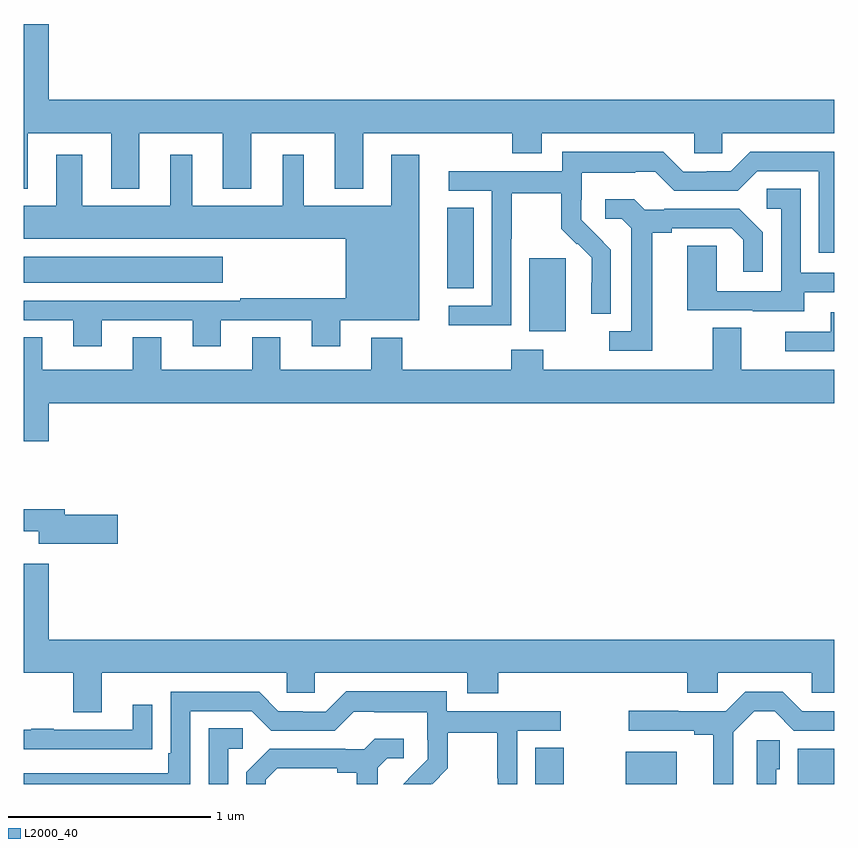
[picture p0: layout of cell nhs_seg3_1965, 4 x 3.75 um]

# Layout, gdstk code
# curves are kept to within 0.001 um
import gdstk
lib = gdstk.Library(unit=1e-6, precision=1e-09)
def R(c, l, rs):  # rectangles x0, y0, x1, y1
    for r in rs: c.add(gdstk.rectangle(r[:2], r[2:], *l))
def P(c, l, *ps):  # polygons
    for p in ps: c.add(gdstk.Polygon(p, *l))
L2000_40 = (2000, 40)

nhs_seg3_1965 = lib.new_cell('nhs_seg3_1965')
R(nhs_seg3_1965, L2000_40, [(215.525,668.4,215.664,668.579), (215.972,668.4,216.223,668.56), (216.821,668.4,217,668.575), (215.495,670.634,215.674,670.995), (215.09,670.846,215.221,671.243), (213,670.874,213.982,671.002)])
P(nhs_seg3_1965, L2000_40, [(213.124,672.151),(213,672.151),(213,671.339),(213.019,671.339),(213.019,671.612),(213.431,671.612),(213.431,671.339),(213.571,671.339),(213.571,671.612),(213.983,671.612),(213.983,671.339),(214.123,671.339),(214.123,671.612),(214.535,671.612),(214.535,671.339),(214.675,671.339),(214.675,671.612),(215.41,671.612),(215.41,671.513),(215.557,671.513),(215.557,671.612),(216.309,671.612),(216.309,671.514),(216.447,671.514),(216.447,671.612),(217,671.612),(217,671.776),(213.124,671.776)],
  [(215.406,671.092),(215.409,671.092),(215.409,671.316),(215.653,671.316),(215.653,671.141),(215.73,671.064),(215.733,671.067),(215.804,670.997),(215.804,670.874),(215.802,670.874),(215.802,670.72),(215.898,670.72),(215.898,671.038),(215.752,671.186),(215.752,671.283),(215.754,671.283),(215.754,671.417),(216.017,671.417),(216.017,671.421),(216.117,671.421),(216.21,671.328),(216.525,671.328),(216.621,671.424),(216.924,671.424),(216.924,671.022),(217,671.022),(217,671.52),(216.585,671.52),(216.489,671.424),(216.371,671.424),(216.371,671.421),(216.255,671.421),(216.155,671.521),(215.658,671.521),(215.658,671.424),(215.097,671.424),(215.097,671.328),(215.31,671.328),(215.31,670.761),(215.097,670.761),(215.097,670.663),(215.406,670.663)],
  [(213.385,670.689),(213.833,670.689),(213.833,670.56),(213.973,670.56),(213.973,670.689),(214.421,670.689),(214.421,670.56),(214.561,670.56),(214.561,670.688),(214.951,670.688),(214.951,671.506),(214.814,671.506),(214.814,671.254),(214.381,671.254),(214.381,671.506),(214.277,671.506),(214.277,671.254),(213.832,671.254),(213.832,671.506),(213.722,671.506),(213.722,671.254),(213.289,671.254),(213.289,671.506),(213.161,671.506),(213.161,671.254),(213,671.254),(213,671.09),(214.589,671.09),(214.589,670.798),(214.069,670.798),(214.069,670.785),(213,670.785),(213,670.689),(213.245,670.689),(213.245,670.56),(213.385,670.56)],
  [(216.853,670.827),(217,670.827),(217,670.923),(216.834,670.923),(216.834,671.339),(216.666,671.339),(216.666,671.238),(216.738,671.238),(216.738,670.833),(216.42,670.833),(216.42,671.057),(216.275,671.057),(216.275,670.737),(216.599,670.737),(216.599,670.733),(216.853,670.733)],
  [(216.103,671.12),(216.199,671.12),(216.199,671.142),(216.494,671.142),(216.551,671.085),(216.551,670.929),(216.648,670.929),(216.648,671.122),(216.532,671.238),(216.16,671.238),(216.16,671.235),(216.066,671.235),(216.014,671.287),(215.871,671.287),(215.871,671.19),(215.952,671.19),(215.999,671.143),(215.999,670.635),(215.889,670.635),(215.889,670.539),(216.103,670.539)],
  [(217,670.728),(216.983,670.728),(216.983,670.632),(216.759,670.632),(216.759,670.536),(217,670.536)],
  [(217,670.444),(216.541,670.444),(216.541,670.652),(216.401,670.652),(216.401,670.444),(215.565,670.444),(215.565,670.543),(215.405,670.543),(215.405,670.444),(214.868,670.444),(214.868,670.603),(214.715,670.603),(214.715,670.444),(214.267,670.444),(214.267,670.604),(214.127,670.604),(214.127,670.444),(213.679,670.444),(213.679,670.604),(213.539,670.604),(213.539,670.444),(213.091,670.444),(213.091,670.604),(213,670.604),(213,670.092),(213.124,670.092),(213.124,670.28),(217,670.28)],
  [(213.463,669.728),(213.202,669.728),(213.202,669.757),(213,669.757),(213,669.647),(213.074,669.647),(213.074,669.586),(213.463,669.586)],
  [(213.385,668.948),(214.299,668.948),(214.299,668.85),(214.437,668.85),(214.437,668.948),(215.189,668.948),(215.189,668.849),(215.342,668.849),(215.342,668.948),(216.275,668.948),(216.275,668.85),(216.426,668.85),(216.426,668.948),(216.888,668.948),(216.888,668.85),(217,668.85),(217,669.112),(213.124,669.112),(213.124,669.487),(213,669.487),(213,668.948),(213.245,668.948),(213.245,668.754),(213.385,668.754)],
  [(213.822,668.76),(214.125,668.76),(214.221,668.664),(214.536,668.664),(214.629,668.757),(214.729,668.757),(214.729,668.753),(214.992,668.753),(214.992,668.619),(214.994,668.619),(214.994,668.522),(214.874,668.4),(215.01,668.4),(215.013,668.403),(215.016,668.4),(215.093,668.477),(215.093,668.652),(215.338,668.652),(215.338,668.428),(215.34,668.428),(215.34,668.4),(215.436,668.4),(215.436,668.664),(215.65,668.664),(215.65,668.76),(215.088,668.76),(215.088,668.857),(214.591,668.857),(214.491,668.757),(214.376,668.757),(214.376,668.76),(214.257,668.76),(214.161,668.856),(213.726,668.856),(213.726,668.551),(213.713,668.551),(213.713,668.454),(213,668.454),(213,668.4),(213.822,668.4)],
  [(216.501,668.655),(216.605,668.759),(216.706,668.759),(216.801,668.664),(217,668.664),(217,668.76),(216.843,668.76),(216.747,668.856),(216.56,668.856),(216.464,668.76),(216.231,668.76),(216.231,668.762),(215.985,668.762),(215.985,668.664),(216.308,668.664),(216.308,668.644),(216.404,668.644),(216.404,668.4),(216.501,668.4)],
  [(213.533,668.572),(213.635,668.572),(213.635,668.791),(213.539,668.791),(213.539,668.667),(213.149,668.667),(213.149,668.672),(213.037,668.672),(213.037,668.667),(213,668.667),(213,668.571),(213.533,668.571)],
  [(214.008,668.574),(214.081,668.574),(214.081,668.675),(213.912,668.675),(213.912,668.4),(214.008,668.4)],
  [(214.195,668.421),(214.252,668.478),(214.547,668.478),(214.547,668.456),(214.643,668.456),(214.643,668.4),(214.747,668.4),(214.747,668.479),(214.794,668.526),(214.876,668.526),(214.876,668.623),(214.732,668.623),(214.68,668.571),(214.586,668.571),(214.586,668.574),(214.214,668.574),(214.098,668.458),(214.098,668.4),(214.195,668.4)],
  [(216.714,668.472),(216.73,668.472),(216.73,668.615),(216.618,668.615),(216.618,668.4),(216.714,668.4)])

lib.write_gds('nhs_seg3_1965.gds')
